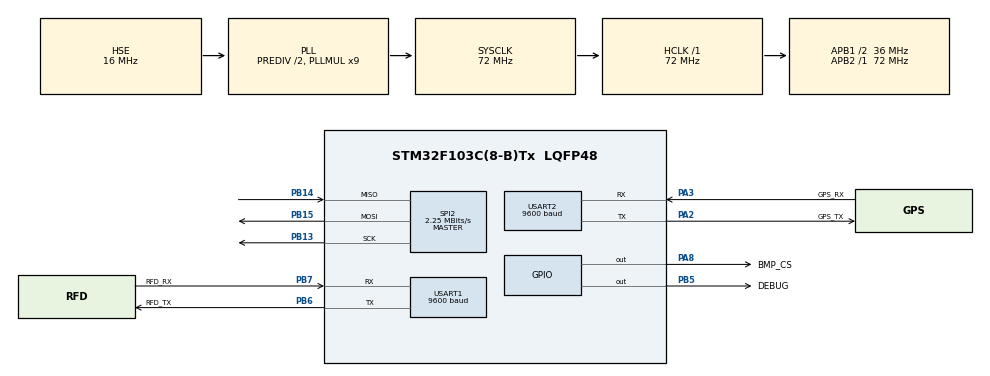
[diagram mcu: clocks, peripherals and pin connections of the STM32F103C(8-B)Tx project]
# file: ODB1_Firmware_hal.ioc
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Mcu.Family=STM32F1
Mcu.Name=STM32F103C(8-B)Tx
Mcu.Package=LQFP48
NVIC.PriorityGroup=NVIC_PRIORITYGROUP_4
NVIC.USART2_IRQn=true\:0\:0\:false\:false\:true\:true\:true\:true
PA13.Mode=Trace_Asynchronous_SW
PA13.Signal=SYS_JTMS-SWDIO
PA14.Mode=Trace_Asynchronous_SW
PA14.Signal=SYS_JTCK-SWCLK
PA2.GPIO_Label=GPS_TX
PA2.Mode=Asynchronous
PA2.Signal=USART2_TX
PA3.GPIO_Label=GPS_RX
PA3.Mode=Asynchronous
PA3.Signal=USART2_RX
PA8.GPIO_Label=BMP_CS
PA8.PinState=GPIO_PIN_SET
PA8.Signal=GPIO_Output
PB13.Mode=Full_Duplex_Master
PB13.Signal=SPI2_SCK
PB14.Mode=Full_Duplex_Master
PB14.Signal=SPI2_MISO
PB15.Mode=Full_Duplex_Master
PB15.Signal=SPI2_MOSI
PB3.Mode=Trace_Asynchronous_SW
PB3.Signal=SYS_JTDO-TRACESWO
PB5.GPIO_Label=DEBUG
PB5.Signal=GPIO_Output
PB6.GPIO_Label=RFD_TX
PB6.Mode=Asynchronous
PB6.Signal=USART1_TX
PB7.GPIO_Label=RFD_RX
PB7.Mode=Asynchronous
PB7.Signal=USART1_RX
PD0-OSC_IN.Mode=HSE-External-Oscillator
PD0-OSC_IN.Signal=RCC_OSC_IN
PD1-OSC_OUT.Mode=HSE-External-Oscillator
PD1-OSC_OUT.Signal=RCC_OSC_OUT
ProjectManager.HeapSize=0x200
ProjectManager.StackSize=0x400
ProjectManager.TargetToolchain=STM32CubeIDE
RCC.AHBFreq_Value=72000000
RCC.APB1CLKDivider=RCC_HCLK_DIV2
RCC.APB1Freq_Value=36000000
RCC.APB1TimFreq_Value=72000000
RCC.APB2Freq_Value=72000000
RCC.APB2TimFreq_Value=72000000
RCC.HCLKFreq_Value=72000000
RCC.HSEDivPLL=RCC_HSE_PREDIV_DIV2
RCC.HSE_VALUE=16000000
RCC.PLLMUL=RCC_PLL_MUL9
RCC.PLLSourceVirtual=RCC_PLLSOURCE_HSE
RCC.SYSCLKFreq_VALUE=72000000
RCC.SYSCLKSource=RCC_SYSCLKSOURCE_PLLCLK
RCC.USBFreq_Value=72000000
SPI2.BaudRatePrescaler=SPI_BAUDRATEPRESCALER_16
SPI2.CalculateBaudRate=2.25 MBits/s
SPI2.Direction=SPI_DIRECTION_2LINES
SPI2.Mode=SPI_MODE_MASTER
SPI2.VirtualType=VM_MASTER
USART1.BaudRate=9600
USART1.VirtualMode=VM_ASYNC
USART2.BaudRate=9600
USART2.VirtualMode=VM_ASYNC
board=custom

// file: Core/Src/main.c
/* USER CODE BEGIN Header */
/**
  ******************************************************************************
  * @file           : main.c
  * @brief          : Main program body
  ******************************************************************************
  * @attention
  *
  * Copyright (c) 2024 STMicroelectronics.
  * All rights reserved.
  *
  * This software is licensed under terms that can be found in the LICENSE file
  * in the root directory of this software component.
  * If no LICENSE file comes with this software, it is provided AS-IS.
  *
  ******************************************************************************
  */
/* USER CODE END Header */
#include "main.h"

/* USER CODE BEGIN Includes */
#include "stdio.h"

#include "GAUL_Drivers/BMP280.h"
#include "GAUL_Drivers/L76LM33.h"

#include "GAUL_Drivers/Tests/BMP280_tests.h"
#include "GAUL_Drivers/Tests/NMEA_tests.h"
#include "GAUL_Drivers/Tests/L76LM33_tests.h"

/* USER CODE END Includes */

SPI_HandleTypeDef hspi2;

UART_HandleTypeDef huart1;
UART_HandleTypeDef huart2;

/* USER CODE BEGIN PV */
BMP280 bmp_data;
L76LM33 L76_data;

/* USER CODE END PV */

void SystemClock_Config(void);
static void MX_GPIO_Init(void);
static void MX_SPI2_Init(void);
static void MX_USART1_UART_Init(void);
static void MX_USART2_UART_Init(void);

int main(void)
{

  /* MCU Configuration--------------------------------------------------------*/

  /* Reset of all peripherals, Initializes the Flash interface and the Systick. */
  HAL_Init();

  /* Configure the system clock */
  SystemClock_Config();

  /* Initialize all configured peripherals */
  MX_GPIO_Init();
  MX_SPI2_Init();
  MX_USART1_UART_Init();
  MX_USART2_UART_Init();
  /* USER CODE BEGIN 2 */

  // Barometer
  if (BMP280_Init(&bmp_data, &hspi2) != 0) {
    printf("BMP280 Initialization Error\r\n");
    // TODO: Buzzer or led 10 sec
    return -1; // Error
  }

  // GNSS module
  if (L76LM33_Init(&huart2) != 0) {
    printf("L76LM33 Initialization Error\r\n");
    // TODO: Buzzer or led 10 sec
    return -1; // Error
  }

  // NMEA tests
  //NMEA_TESTS_ValidateRMC_LogSTLINK();
  //NMEA_TESTS_ParseRMC_LogSTLINK();

  printf("Initialization success\r\n");

  /* USER CODE END 2 */

  /* Infinite loop */
  while (1)
  {

    /* USER CODE BEGIN 3 */

    // BMP
    //BMP280_TESTS_LogSTLINK();

    // L76LM33
    //L76LM33_TESTS_ReadSentence_LogSTLINK();
    //L76LM33_TESTS_ReadSentence_LogUART(&huart1);
    L76LM33_TESTS_Read_LogSTLINK();

    HAL_Delay(200);
  }
  /* USER CODE END 3 */
}

void SystemClock_Config(void)
{
  RCC_OscInitTypeDef RCC_OscInitStruct = {0};
  RCC_ClkInitTypeDef RCC_ClkInitStruct = {0};

  /** Initializes the RCC Oscillators according to the specified parameters
  * in the RCC_OscInitTypeDef structure.
  */
  RCC_OscInitStruct.OscillatorType = RCC_OSCILLATORTYPE_HSE;
  RCC_OscInitStruct.HSEState = RCC_HSE_ON;
  RCC_OscInitStruct.HSEPredivValue = RCC_HSE_PREDIV_DIV2;
  RCC_OscInitStruct.HSIState = RCC_HSI_ON;
  RCC_OscInitStruct.PLL.PLLState = RCC_PLL_ON;
  RCC_OscInitStruct.PLL.PLLSource = RCC_PLLSOURCE_HSE;
  RCC_OscInitStruct.PLL.PLLMUL = RCC_PLL_MUL9;
  if (HAL_RCC_OscConfig(&RCC_OscInitStruct) != HAL_OK)
  {
    Error_Handler();
  }

  /** Initializes the CPU, AHB and APB buses clocks
  */
  RCC_ClkInitStruct.ClockType = RCC_CLOCKTYPE_HCLK|RCC_CLOCKTYPE_SYSCLK
                              |RCC_CLOCKTYPE_PCLK1|RCC_CLOCKTYPE_PCLK2;
  RCC_ClkInitStruct.SYSCLKSource = RCC_SYSCLKSOURCE_PLLCLK;
  RCC_ClkInitStruct.AHBCLKDivider = RCC_SYSCLK_DIV1;
  RCC_ClkInitStruct.APB1CLKDivider = RCC_HCLK_DIV2;
  RCC_ClkInitStruct.APB2CLKDivider = RCC_HCLK_DIV1;

  if (HAL_RCC_ClockConfig(&RCC_ClkInitStruct, FLASH_LATENCY_2) != HAL_OK)
  {
    Error_Handler();
  }
}

static void MX_SPI2_Init(void)
{

  /* SPI2 parameter configuration*/
  hspi2.Instance = SPI2;
  hspi2.Init.Mode = SPI_MODE_MASTER;
  hspi2.Init.Direction = SPI_DIRECTION_2LINES;
  hspi2.Init.DataSize = SPI_DATASIZE_8BIT;
  hspi2.Init.CLKPolarity = SPI_POLARITY_LOW;
  hspi2.Init.CLKPhase = SPI_PHASE_1EDGE;
  hspi2.Init.NSS = SPI_NSS_SOFT;
  hspi2.Init.BaudRatePrescaler = SPI_BAUDRATEPRESCALER_16;
  hspi2.Init.FirstBit = SPI_FIRSTBIT_MSB;
  hspi2.Init.TIMode = SPI_TIMODE_DISABLE;
  hspi2.Init.CRCCalculation = SPI_CRCCALCULATION_DISABLE;
  hspi2.Init.CRCPolynomial = 10;
  if (HAL_SPI_Init(&hspi2) != HAL_OK)
  {
    Error_Handler();
  }

}

static void MX_USART1_UART_Init(void)
{

  huart1.Instance = USART1;
  huart1.Init.BaudRate = 9600;
  huart1.Init.WordLength = UART_WORDLENGTH_8B;
  huart1.Init.StopBits = UART_STOPBITS_1;
  huart1.Init.Parity = UART_PARITY_NONE;
  huart1.Init.Mode = UART_MODE_TX_RX;
  huart1.Init.HwFlowCtl = UART_HWCONTROL_NONE;
  huart1.Init.OverSampling = UART_OVERSAMPLING_16;
  if (HAL_UART_Init(&huart1) != HAL_OK)
  {
    Error_Handler();
  }

}

static void MX_USART2_UART_Init(void)
{

  huart2.Instance = USART2;
  huart2.Init.BaudRate = 9600;
  huart2.Init.WordLength = UART_WORDLENGTH_8B;
  huart2.Init.StopBits = UART_STOPBITS_1;
  huart2.Init.Parity = UART_PARITY_NONE;
  huart2.Init.Mode = UART_MODE_TX_RX;
  huart2.Init.HwFlowCtl = UART_HWCONTROL_NONE;
  huart2.Init.OverSampling = UART_OVERSAMPLING_16;
  if (HAL_UART_Init(&huart2) != HAL_OK)
  {
    Error_Handler();
  }

}

static void MX_GPIO_Init(void)
{
  GPIO_InitTypeDef GPIO_InitStruct = {0};

  /* GPIO Ports Clock Enable */
  __HAL_RCC_GPIOD_CLK_ENABLE();
  __HAL_RCC_GPIOA_CLK_ENABLE();
  __HAL_RCC_GPIOB_CLK_ENABLE();

  /*Configure GPIO pin Output Level */
  HAL_GPIO_WritePin(BMP_CS_GPIO_Port, BMP_CS_Pin, GPIO_PIN_SET);

  /*Configure GPIO pin Output Level */
  HAL_GPIO_WritePin(DEBUG_GPIO_Port, DEBUG_Pin, GPIO_PIN_RESET);

  /*Configure GPIO pin : BMP_CS_Pin */
  GPIO_InitStruct.Pin = BMP_CS_Pin;
  GPIO_InitStruct.Mode = GPIO_MODE_OUTPUT_PP;
  GPIO_InitStruct.Pull = GPIO_NOPULL;
  GPIO_InitStruct.Speed = GPIO_SPEED_FREQ_LOW;
  HAL_GPIO_Init(BMP_CS_GPIO_Port, &GPIO_InitStruct);

  /*Configure GPIO pin : DEBUG_Pin */
  GPIO_InitStruct.Pin = DEBUG_Pin;
  GPIO_InitStruct.Mode = GPIO_MODE_OUTPUT_PP;
  GPIO_InitStruct.Pull = GPIO_NOPULL;
  GPIO_InitStruct.Speed = GPIO_SPEED_FREQ_LOW;
  HAL_GPIO_Init(DEBUG_GPIO_Port, &GPIO_InitStruct);

}

/* USER CODE BEGIN 4 */
int _write(int file, char *ptr, int len)
{
  (void)file;
  int DataIdx;

  for (DataIdx = 0; DataIdx < len; DataIdx++)
  {
    ITM_SendChar(*ptr++);
  }
  return len;
}

void HAL_UART_RxCpltCallback(UART_HandleTypeDef *huart) {
  L76LM33_RxCallback(huart);
}
/* USER CODE END 4 */

void Error_Handler(void)
{
  __disable_irq();
  while (1)
  {
  }
}
